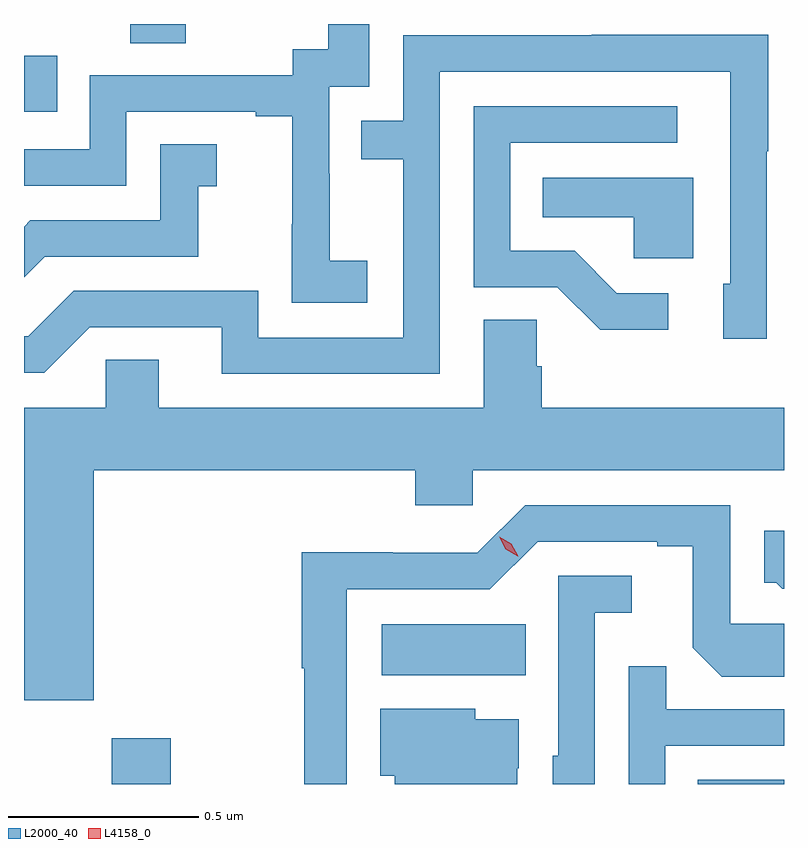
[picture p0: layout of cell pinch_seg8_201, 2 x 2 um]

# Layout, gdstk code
import gdstk
lib = gdstk.Library(unit=1e-6, precision=1e-09)
def R(c, l, rs):  # rectangles x0, y0, x1, y1
    for r in rs: c.add(gdstk.rectangle(r[:2], r[2:], *l))
def P(c, l, *ps):  # polygons
    for p in ps: c.add(gdstk.Polygon(p, *l))
L2000_40 = (2000, 40)
L4158_0 = (4158, 0)

pinch_seg8_201 = lib.new_cell('pinch_seg8_201')
R(pinch_seg8_201, L2000_40, [(693.442,1140.982,693.597,1141.102), (694.984,1140.982,695.211,1140.993), (694.152,1141.268,694.532,1141.402), (693.211,1142.751,693.299,1142.899), (693.49,1142.932,693.637,1142.982)])
P(pinch_seg8_201, L2000_40, [(694.114,1142.359),(694.016,1142.359),(694.016,1142.588),(694.014,1142.588),(694.014,1142.817),(694.119,1142.817),(694.119,1142.982),(694.011,1142.982),(694.011,1142.916),(693.918,1142.916),(693.918,1142.847),(693.384,1142.847),(693.384,1142.652),(693.211,1142.652),(693.211,1142.556),(693.48,1142.556),(693.48,1142.751),(693.821,1142.751),(693.821,1142.739),(693.917,1142.739),(693.917,1142.455),(693.916,1142.455),(693.916,1142.249),(694.114,1142.249)],
  [(694.305,1142.856),(695.069,1142.856),(695.069,1142.602),(695.07,1142.602),(695.07,1142.298),(695.051,1142.298),(695.051,1142.154),(695.166,1142.154),(695.166,1142.647),(695.169,1142.647),(695.169,1142.954),(694.705,1142.954),(694.705,1142.952),(694.209,1142.952),(694.209,1142.727),(694.099,1142.727),(694.099,1142.626),(694.209,1142.626),(694.209,1142.157),(693.828,1142.157),(693.828,1142.28),(693.342,1142.28),(693.222,1142.16),(693.211,1142.16),(693.211,1142.064),(693.264,1142.064),(693.384,1142.184),(693.731,1142.184),(693.731,1142.061),(694.305,1142.061)],
  [(694.906,1142.274),(694.771,1142.274),(694.66,1142.385),(694.491,1142.385),(694.491,1142.67),(694.93,1142.67),(694.93,1142.766),(694.395,1142.766),(694.395,1142.289),(694.614,1142.289),(694.727,1142.177),(694.906,1142.177)],
  [(693.265,1142.37),(693.669,1142.37),(693.669,1142.555),(693.718,1142.555),(693.718,1142.665),(693.57,1142.665),(693.57,1142.466),(693.228,1142.466),(693.211,1142.449),(693.211,1142.316)],
  [(694.972,1142.578),(694.576,1142.578),(694.576,1142.474),(694.815,1142.474),(694.815,1142.366),(694.972,1142.366)],
  [(693.394,1141.808),(694.241,1141.808),(694.241,1141.715),(694.392,1141.715),(694.392,1141.808),(695.211,1141.808),(695.211,1141.972),(694.574,1141.972),(694.574,1142.081),(694.56,1142.081),(694.56,1142.204),(694.421,1142.204),(694.421,1141.972),(693.565,1141.972),(693.565,1142.099),(693.426,1142.099),(693.426,1141.972),(693.211,1141.972),(693.211,1141.202),(693.394,1141.202)],
  [(694.06,1141.494),(694.437,1141.494),(694.563,1141.62),(694.877,1141.62),(694.877,1141.608),(694.971,1141.608),(694.971,1141.34),(695.047,1141.264),(695.211,1141.264),(695.211,1141.404),(695.07,1141.404),(695.07,1141.716),(694.53,1141.716),(694.404,1141.59),(694.182,1141.59),(694.182,1141.592),(693.942,1141.592),(693.942,1141.287),(693.949,1141.287),(693.949,1140.982),(694.06,1140.982)],
  [(695.211,1141.648),(695.159,1141.648),(695.159,1141.512),(695.19,1141.512),(695.206,1141.496),(695.211,1141.496)],
  [(694.713,1141.433),(694.81,1141.433),(694.81,1141.53),(694.617,1141.53),(694.617,1141.056),(694.602,1141.056),(694.602,1140.982),(694.713,1140.982)],
  [(694.899,1141.083),(695.211,1141.083),(695.211,1141.179),(694.901,1141.179),(694.901,1141.292),(694.803,1141.292),(694.803,1140.982),(694.899,1140.982)],
  [(694.509,1141.024),(694.513,1141.024),(694.513,1141.153),(694.398,1141.153),(694.398,1141.18),(694.148,1141.18),(694.148,1141.004),(694.187,1141.004),(694.187,1140.982),(694.509,1140.982)])
P(pinch_seg8_201, L4158_0, [(694.51,1141.581),(694.479,1141.6),(694.462,1141.633),(694.462,1141.633),(694.462,1141.633),(694.493,1141.614),(694.511,1141.581),(694.511,1141.581)])

lib.write_gds('pinch_seg8_201.gds')
